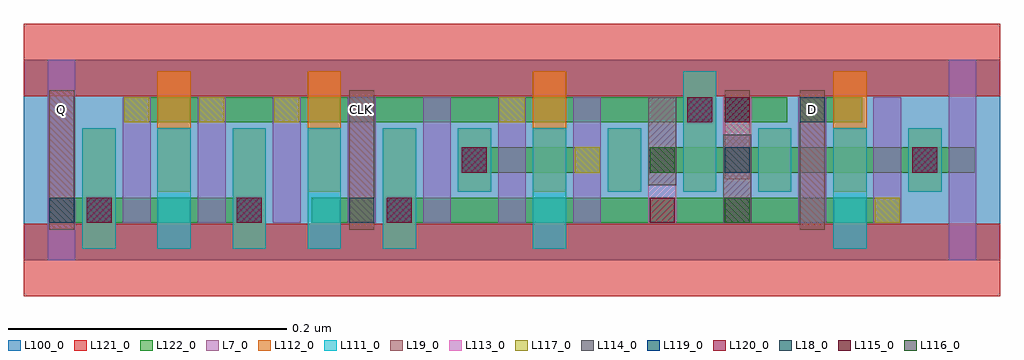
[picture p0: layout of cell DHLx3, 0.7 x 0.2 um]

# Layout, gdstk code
import gdstk
lib = gdstk.Library(unit=1e-6, precision=2.5e-10)
def R(c, l, rs):  # rectangles x0, y0, x1, y1
    for r in rs: c.add(gdstk.rectangle(r[:2], r[2:], *l))
def A(c, l, x, y, w, h, nx, ny, dx, dy):  # array of equal rectangles
    R(c, l, [(x+i*dx, y+j*dy, x+i*dx+w, y+j*dy+h) for i in range(nx) for j in range(ny)])
L7_0 = (7, 0)
L18_0 = (18, 0)
L19_0 = (19, 0)
L100_0 = (100, 0)
L111_0 = (111, 0)
L112_0 = (112, 0)
L113_0 = (113, 0)
L114_0 = (114, 0)
L115_0 = (115, 0)
L116_0 = (116, 0)
L117_0 = (117, 0)
L119_0 = (119, 0)
L120_0 = (120, 0)
L121_0 = (121, 0)
L122_0 = (122, 0)

dhlx3 = lib.new_cell('DHLx3')
A(dhlx3, L7_0, 0.071, 0.027, 0.02, 0.09, 7, 1, 0.054, 0)
R(dhlx3, L7_0, [(0.017,0,0.037,0.144), (0.665,0,0.685,0.144), (0.557,0.027,0.577,0.117), (0.611,0.027,0.631,0.117)])
R(dhlx3, L18_0, [(0.018,0.027,0.036,0.045), (0.234,0.027,0.252,0.045), (0.504,0.063,0.522,0.081), (0.504,0.099,0.522,0.117), (0.558,0.099,0.576,0.117)])
R(dhlx3, L19_0, [(0.018,0.022,0.036,0.122), (0.234,0.022,0.252,0.122), (0.558,0.022,0.576,0.122), (0.504,0.058,0.522,0.122)])
R(dhlx3, L100_0, [(0,0,0.702,0.144)])
A(dhlx3, L111_0, 0.042, 0.008, 0.024, 0.087, 5, 1, 0.054, 0)
A(dhlx3, L111_0, 0.312, 0.049, 0.024, 0.046, 4, 1, 0.108, 0)
R(dhlx3, L111_0, [(0.366,0.008,0.39,0.095), (0.582,0.008,0.606,0.095), (0.474,0.049,0.498,0.136)])
A(dhlx3, L112_0, 0.042, 0.008, 0.024, 0.087, 3, 1, 0.108, 0)
A(dhlx3, L112_0, 0.312, 0.049, 0.024, 0.046, 4, 1, 0.108, 0)
A(dhlx3, L112_0, 0.366, 0.049, 0.024, 0.087, 3, 1, 0.108, 0)
R(dhlx3, L112_0, [(0.096,0.049,0.12,0.136), (0.204,0.049,0.228,0.136)])
R(dhlx3, L113_0, [(0.449,0.027,0.469,0.117), (0.503,0.027,0.523,0.117)])
R(dhlx3, L114_0, [(0.503,0.027,0.523,0.09), (0.449,0.054,0.469,0.117)])
R(dhlx3, L115_0, [(0.45,0.027,0.468,0.045), (0.504,0.099,0.522,0.117)])
R(dhlx3, L116_0, [(0.504,0.027,0.522,0.045), (0.45,0.063,0.468,0.081)])
A(dhlx3, L117_0, 0.072, 0.099, 0.018, 0.018, 3, 1, 0.054, 0)
R(dhlx3, L117_0, [(0.234,0.027,0.252,0.045), (0.612,0.027,0.63,0.045), (0.396,0.063,0.414,0.081), (0.342,0.099,0.36,0.117), (0.558,0.099,0.576,0.117)])
A(dhlx3, L119_0, 0.045, 0.027, 0.018, 0.018, 3, 1, 0.108, 0)
R(dhlx3, L119_0, [(0.315,0.063,0.333,0.081), (0.639,0.063,0.657,0.081), (0.477,0.099,0.495,0.117)])
A(dhlx3, L120_0, 0.045, 0.027, 0.018, 0.018, 3, 1, 0.108, 0)
R(dhlx3, L120_0, [(0.315,0.063,0.333,0.081), (0.639,0.063,0.657,0.081), (0.477,0.099,0.495,0.117)])
R(dhlx3, L121_0, [(0,-0.026,0.702,0.026), (0,0.118,0.702,0.17)])
R(dhlx3, L122_0, [(0.018,0.027,0.171,0.045), (0.207,0.027,0.252,0.045), (0.261,0.027,0.63,0.045), (0.315,0.063,0.414,0.081), (0.45,0.063,0.684,0.081), (0.072,0.099,0.495,0.117), (0.504,0.099,0.549,0.117), (0.558,0.099,0.603,0.117)])
dhlx3.add(gdstk.Label('Q', (0.027,0.108), layer=19, texttype=251))
dhlx3.add(gdstk.Label('D', (0.567,0.108), layer=19, texttype=251))
dhlx3.add(gdstk.Label('CLK', (0.243,0.108), layer=19, texttype=251))

lib.write_gds('DHLx3.gds')
